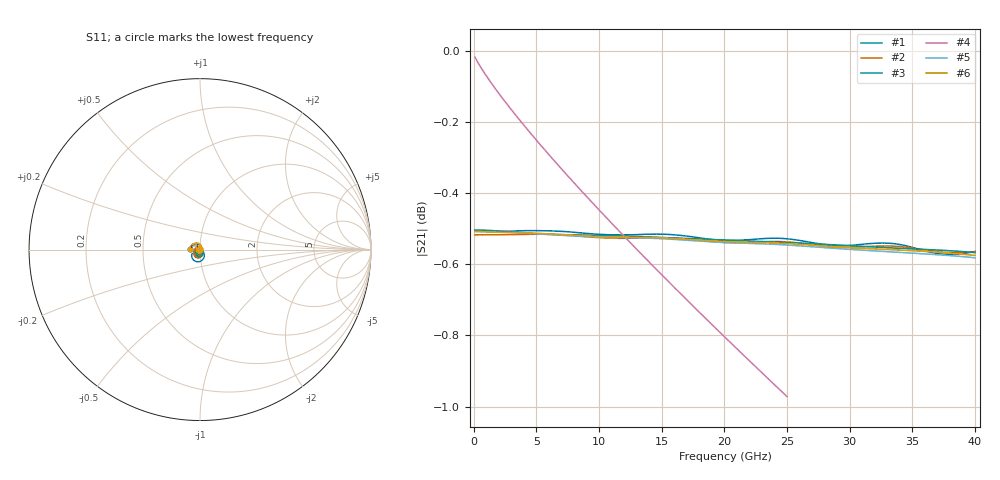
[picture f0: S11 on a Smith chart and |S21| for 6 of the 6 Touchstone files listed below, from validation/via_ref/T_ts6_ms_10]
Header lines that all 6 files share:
# Hz S RI R 50
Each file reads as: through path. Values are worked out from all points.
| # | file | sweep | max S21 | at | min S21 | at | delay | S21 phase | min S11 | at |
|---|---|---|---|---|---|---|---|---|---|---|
| 1 | cst.s2p | 100 MHz to 40 GHz | -0.51 dB | 4.6 GHz | -0.6 dB | 38.1 GHz | 54.3 ps | -31 deg at 20.1 GHz | -57.4 dB | 32.9 GHz |
| 2 | cst_fine.s2p | 100 MHz to 40 GHz | -0.52 dB | 5.2 GHz | -0.6 dB | 38.3 GHz | 54.6 ps | -33 deg at 20.1 GHz | -55.0 dB | 33.2 GHz |
| 3 | kisi.s2p | 100 MHz to 40 GHz | -0.50 dB | 100 MHz | -0.6 dB | 40 GHz | 54.6 ps | -33 deg at 20.1 GHz | -47.7 dB | 32.4 GHz |
| 4 | kisi_model.s2p | 100 MHz to 25 GHz | -0.02 dB | 100 MHz | -1.0 dB | 25 GHz | 52.7 ps | 120 deg at 12.6 GHz | -71.5 dB | 9.4 GHz |
| 5 | openems.s2p | 100 MHz to 40 GHz | -0.51 dB | 100 MHz | -0.6 dB | 40 GHz | 54.6 ps | -34 deg at 20.1 GHz | -62.6 dB | 9.1 GHz |
| 6 | openems_base.s2p | 100 MHz to 40 GHz | -0.51 dB | 100 MHz | -0.6 dB | 40 GHz | 54.6 ps | -33 deg at 20.1 GHz | -63.3 dB | 9.1 GHz |
